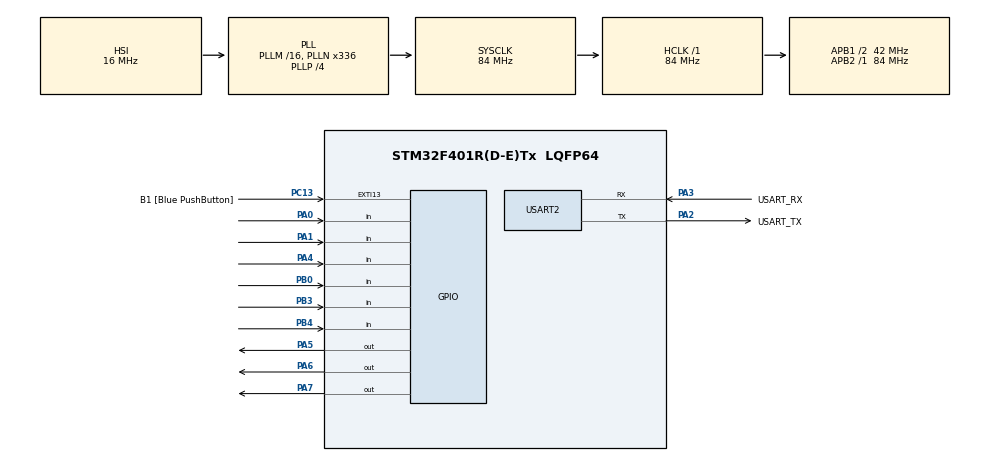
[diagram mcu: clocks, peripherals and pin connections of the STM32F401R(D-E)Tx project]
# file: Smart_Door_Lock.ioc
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Mcu.Family=STM32F4
Mcu.Name=STM32F401R(D-E)Tx
Mcu.Package=LQFP64
NVIC.PriorityGroup=NVIC_PRIORITYGROUP_0
PA0-WKUP.GPIO_PuPd=GPIO_PULLUP
PA0-WKUP.Signal=GPIO_Input
PA1.GPIO_PuPd=GPIO_PULLUP
PA1.Signal=GPIO_Input
PA13.GPIO_Label=TMS
PA13.Mode=Serial_Wire
PA13.Signal=SYS_JTMS-SWDIO
PA14.GPIO_Label=TCK
PA14.Mode=Serial_Wire
PA14.Signal=SYS_JTCK-SWCLK
PA2.GPIO_Label=USART_TX
PA2.GPIO_Mode=GPIO_MODE_AF_PP
PA2.GPIO_PuPd=GPIO_NOPULL
PA2.GPIO_Speed=GPIO_SPEED_FREQ_LOW
PA2.Mode=Asynchronous
PA2.Signal=USART2_TX
PA3.GPIO_Label=USART_RX
PA3.GPIO_Mode=GPIO_MODE_AF_PP
PA3.GPIO_PuPd=GPIO_NOPULL
PA3.GPIO_Speed=GPIO_SPEED_FREQ_LOW
PA3.Mode=Asynchronous
PA3.Signal=USART2_RX
PA4.GPIO_PuPd=GPIO_PULLUP
PA4.Signal=GPIO_Input
PA5.Signal=GPIO_Output
PA6.Signal=GPIO_Output
PA7.Signal=GPIO_Output
PB0.GPIO_PuPd=GPIO_PULLUP
PB0.Signal=GPIO_Input
PB3.GPIO_PuPd=GPIO_PULLUP
PB3.Signal=GPIO_Input
PB4.GPIO_PuPd=GPIO_PULLUP
PB4.Signal=GPIO_Input
PC13-ANTI_TAMP.GPIO_Label=B1 [Blue PushButton]
PC13-ANTI_TAMP.GPIO_ModeDefaultEXTI=GPIO_MODE_IT_FALLING
PC13-ANTI_TAMP.GPIO_PuPd=GPIO_NOPULL
PC13-ANTI_TAMP.Signal=GPXTI13
PC14-OSC32_IN.Mode=LSE-External-Oscillator
PC14-OSC32_IN.Signal=RCC_OSC32_IN
PC15-OSC32_OUT.Mode=LSE-External-Oscillator
PC15-OSC32_OUT.Signal=RCC_OSC32_OUT
PH0\ -\ OSC_IN.Mode=HSE-External-Clock-Source
PH0\ -\ OSC_IN.Signal=RCC_OSC_IN
PH1\ -\ OSC_OUT.Mode=HSE-External-Clock-Source
PH1\ -\ OSC_OUT.Signal=RCC_OSC_OUT
ProjectManager.HeapSize=0x200
ProjectManager.StackSize=0x400
ProjectManager.TargetToolchain=STM32CubeIDE
RCC.48MHZClocksFreq_Value=48000000
RCC.AHBFreq_Value=84000000
RCC.APB1CLKDivider=RCC_HCLK_DIV2
RCC.APB1Freq_Value=42000000
RCC.APB1TimFreq_Value=84000000
RCC.APB2Freq_Value=84000000
RCC.APB2TimFreq_Value=84000000
RCC.CortexFreq_Value=84000000
RCC.HCLKFreq_Value=84000000
RCC.HSE_VALUE=8000000
RCC.HSI_VALUE=16000000
RCC.PLLN=336
RCC.PLLP=RCC_PLLP_DIV4
RCC.PLLQ=7
RCC.SYSCLKFreq_VALUE=84000000
RCC.SYSCLKSource=RCC_SYSCLKSOURCE_PLLCLK
RCC.VCOOutputFreq_Value=336000000
USART2.VirtualMode=VM_ASYNC
board=NUCLEO-F401RE

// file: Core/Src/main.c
/* USER CODE BEGIN Header */
/**
  ******************************************************************************
  * @file           : main.c
  * @brief          : Main program body
  ******************************************************************************
  * @attention
  *
  * Copyright (c) 2026 STMicroelectronics.
  * All rights reserved.
  *
  * This software is licensed under terms that can be found in the LICENSE file
  * in the root directory of this software component.
  * If no LICENSE file comes with this software, it is provided AS-IS.
  *
  ******************************************************************************
  */
/* USER CODE END Header */
#include "main.h"

/* USER CODE BEGIN Includes */
#include <stdio.h>
/* USER CODE END Includes */

UART_HandleTypeDef huart2;

void SystemClock_Config(void);
static void MX_GPIO_Init(void);
static void MX_USART2_UART_Init(void);
/* USER CODE BEGIN PFP */
int password[4] = {1, 2, 3, 4};

int _write(int file, char *ptr, int len)
{
    HAL_UART_Transmit(&huart2, (uint8_t*)ptr, len, HAL_MAX_DELAY);
    return len;
}

void blinkLED(GPIO_TypeDef* port, uint16_t pin, int times)
{
    for (int i = 0; i < times; i++)
    {
        HAL_GPIO_WritePin(port, pin, GPIO_PIN_SET);
        HAL_Delay(150);
        HAL_GPIO_WritePin(port, pin, GPIO_PIN_RESET);
        HAL_Delay(150);
    }
}

void beep(int times)
{
    for (int i = 0; i < times; i++)
    {
        HAL_GPIO_WritePin(GPIOA, GPIO_PIN_7, GPIO_PIN_SET);
        HAL_Delay(150);
        HAL_GPIO_WritePin(GPIOA, GPIO_PIN_7, GPIO_PIN_RESET);
        HAL_Delay(150);
    }
}

int readButton(void)
{
    if (HAL_GPIO_ReadPin(GPIOA, GPIO_PIN_0) == GPIO_PIN_RESET) { HAL_Delay(250); return 1; }
    if (HAL_GPIO_ReadPin(GPIOA, GPIO_PIN_1) == GPIO_PIN_RESET) { HAL_Delay(250); return 2; }
    if (HAL_GPIO_ReadPin(GPIOA, GPIO_PIN_4) == GPIO_PIN_RESET) { HAL_Delay(250); return 3; }
    if (HAL_GPIO_ReadPin(GPIOB, GPIO_PIN_3) == GPIO_PIN_RESET) { HAL_Delay(250); return 4; }

    return 0;
}

void getInput(int input[])
{
    int count = 0;

    printf("Enter 4-button password:\r\n");

    while (count < 4)
    {
        int btn = readButton();

        if (btn != 0)
        {
            input[count] = btn;
            count++;

            printf("Button %d pressed\r\n", btn);
            blinkLED(GPIOA, GPIO_PIN_5, 1);

            while (readButton() != 0) {}
            HAL_Delay(150);
        }
    }
}

int checkPassword(int input[])
{
    for (int i = 0; i < 4; i++)
    {
        if (input[i] != password[i])
        {
            return 0;
        }
    }

    return 1;
}

void changePassword(void)
{
    int currentInput[4];
    int newPassword[4];

    printf("\r\nCHANGE PASSWORD MODE\r\n");
    printf("Enter current password first:\r\n");

    getInput(currentInput);

    if (!checkPassword(currentInput))
    {
        printf("Current password incorrect. Password not changed.\r\n");
        blinkLED(GPIOA, GPIO_PIN_6, 3);
        return;
    }

    printf("Current password correct.\r\n");
    printf("Enter new 4-button password:\r\n");

    getInput(newPassword);

    for (int i = 0; i < 4; i++)
    {
        password[i] = newPassword[i];
    }

    printf("Password changed successfully!\r\n");
    blinkLED(GPIOA, GPIO_PIN_5, 3);
    beep(2);
}

void lockout(void)
{
    printf("\r\n0 tries remaining.\r\n");
    printf("SYSTEM LOCKED. 10 second cooldown.\r\n");

    for (int i = 10; i > 0; i--)
    {
        printf("Cooldown: %d seconds remaining\r\n", i);

        HAL_GPIO_WritePin(GPIOA, GPIO_PIN_6, GPIO_PIN_SET);
        HAL_Delay(100);
        HAL_GPIO_WritePin(GPIOA, GPIO_PIN_6, GPIO_PIN_RESET);

        HAL_Delay(900);
    }

    printf("Cooldown complete. Try again.\r\n\r\n");
}
/* USER CODE END PFP */

int main(void)
{

  /* MCU Configuration--------------------------------------------------------*/

  /* Reset of all peripherals, Initializes the Flash interface and the Systick. */
  HAL_Init();

  /* Configure the system clock */
  SystemClock_Config();

  /* Initialize all configured peripherals */
  MX_GPIO_Init();
  MX_USART2_UART_Init();

  /* Infinite loop */
  /* USER CODE BEGIN WHILE */
  while (1)
  {
      static int attempts = 3;
      int input[4];

      if (HAL_GPIO_ReadPin(GPIOB, GPIO_PIN_4) == GPIO_PIN_RESET)
      {
          HAL_Delay(1000);

          if (HAL_GPIO_ReadPin(GPIOB, GPIO_PIN_4) == GPIO_PIN_RESET)
          {
              changePassword();
              attempts = 3;

              while (HAL_GPIO_ReadPin(GPIOB, GPIO_PIN_4) == GPIO_PIN_RESET) {}
              HAL_Delay(300);
          }
      }

      printf("\r\nSmart Lock Ready\r\n");
      printf("%d tries remaining\r\n", attempts);

      getInput(input);

      if (checkPassword(input))
      {
          printf("ACCESS GRANTED\r\n");
          blinkLED(GPIOA, GPIO_PIN_5, 3);
          beep(3);
          attempts = 3;
      }
      else
      {
          attempts--;

          printf("ACCESS DENIED\r\n");
          printf("%d tries remaining\r\n", attempts);

          blinkLED(GPIOA, GPIO_PIN_6, 3);

          if (attempts == 0)
          {
              lockout();
              attempts = 3;
          }
      }

      HAL_Delay(1000);
  }
  /* USER CODE END 3 */
}

void SystemClock_Config(void)
{
  RCC_OscInitTypeDef RCC_OscInitStruct = {0};
  RCC_ClkInitTypeDef RCC_ClkInitStruct = {0};

  /** Configure the main internal regulator output voltage
  */
  __HAL_RCC_PWR_CLK_ENABLE();
  __HAL_PWR_VOLTAGESCALING_CONFIG(PWR_REGULATOR_VOLTAGE_SCALE2);

  /** Initializes the RCC Oscillators according to the specified parameters
  * in the RCC_OscInitTypeDef structure.
  */
  RCC_OscInitStruct.OscillatorType = RCC_OSCILLATORTYPE_HSI;
  RCC_OscInitStruct.HSIState = RCC_HSI_ON;
  RCC_OscInitStruct.HSICalibrationValue = RCC_HSICALIBRATION_DEFAULT;
  RCC_OscInitStruct.PLL.PLLState = RCC_PLL_ON;
  RCC_OscInitStruct.PLL.PLLSource = RCC_PLLSOURCE_HSI;
  RCC_OscInitStruct.PLL.PLLM = 16;
  RCC_OscInitStruct.PLL.PLLN = 336;
  RCC_OscInitStruct.PLL.PLLP = RCC_PLLP_DIV4;
  RCC_OscInitStruct.PLL.PLLQ = 7;
  if (HAL_RCC_OscConfig(&RCC_OscInitStruct) != HAL_OK)
  {
    Error_Handler();
  }

  /** Initializes the CPU, AHB and APB buses clocks
  */
  RCC_ClkInitStruct.ClockType = RCC_CLOCKTYPE_HCLK|RCC_CLOCKTYPE_SYSCLK
                              |RCC_CLOCKTYPE_PCLK1|RCC_CLOCKTYPE_PCLK2;
  RCC_ClkInitStruct.SYSCLKSource = RCC_SYSCLKSOURCE_PLLCLK;
  RCC_ClkInitStruct.AHBCLKDivider = RCC_SYSCLK_DIV1;
  RCC_ClkInitStruct.APB1CLKDivider = RCC_HCLK_DIV2;
  RCC_ClkInitStruct.APB2CLKDivider = RCC_HCLK_DIV1;

  if (HAL_RCC_ClockConfig(&RCC_ClkInitStruct, FLASH_LATENCY_2) != HAL_OK)
  {
    Error_Handler();
  }
}

static void MX_USART2_UART_Init(void)
{

  huart2.Instance = USART2;
  huart2.Init.BaudRate = 115200;
  huart2.Init.WordLength = UART_WORDLENGTH_8B;
  huart2.Init.StopBits = UART_STOPBITS_1;
  huart2.Init.Parity = UART_PARITY_NONE;
  huart2.Init.Mode = UART_MODE_TX_RX;
  huart2.Init.HwFlowCtl = UART_HWCONTROL_NONE;
  huart2.Init.OverSampling = UART_OVERSAMPLING_16;
  if (HAL_UART_Init(&huart2) != HAL_OK)
  {
    Error_Handler();
  }

}

static void MX_GPIO_Init(void)
{
  GPIO_InitTypeDef GPIO_InitStruct = {0};

  /* GPIO Ports Clock Enable */
  __HAL_RCC_GPIOC_CLK_ENABLE();
  __HAL_RCC_GPIOH_CLK_ENABLE();
  __HAL_RCC_GPIOA_CLK_ENABLE();
  __HAL_RCC_GPIOB_CLK_ENABLE();

  /*Configure GPIO pin Output Level */
  HAL_GPIO_WritePin(GPIOA, GPIO_PIN_5|GPIO_PIN_6|GPIO_PIN_7, GPIO_PIN_RESET);

  /*Configure GPIO pin : B1_Pin */
  GPIO_InitStruct.Pin = B1_Pin;
  GPIO_InitStruct.Mode = GPIO_MODE_IT_FALLING;
  GPIO_InitStruct.Pull = GPIO_NOPULL;
  HAL_GPIO_Init(B1_GPIO_Port, &GPIO_InitStruct);

  /*Configure GPIO pins : PA0 PA1 PA4 */
  GPIO_InitStruct.Pin = GPIO_PIN_0|GPIO_PIN_1|GPIO_PIN_4;
  GPIO_InitStruct.Mode = GPIO_MODE_INPUT;
  GPIO_InitStruct.Pull = GPIO_PULLUP;
  HAL_GPIO_Init(GPIOA, &GPIO_InitStruct);

  /*Configure GPIO pins : PA5 PA6 PA7 */
  GPIO_InitStruct.Pin = GPIO_PIN_5|GPIO_PIN_6|GPIO_PIN_7;
  GPIO_InitStruct.Mode = GPIO_MODE_OUTPUT_PP;
  GPIO_InitStruct.Pull = GPIO_NOPULL;
  GPIO_InitStruct.Speed = GPIO_SPEED_FREQ_LOW;
  HAL_GPIO_Init(GPIOA, &GPIO_InitStruct);

  /*Configure GPIO pins : PB0 PB3 PB4 */
  GPIO_InitStruct.Pin = GPIO_PIN_0|GPIO_PIN_3|GPIO_PIN_4;
  GPIO_InitStruct.Mode = GPIO_MODE_INPUT;
  GPIO_InitStruct.Pull = GPIO_PULLUP;
  HAL_GPIO_Init(GPIOB, &GPIO_InitStruct);

}

void Error_Handler(void)
{
  __disable_irq();
  while (1)
  {
  }
}
